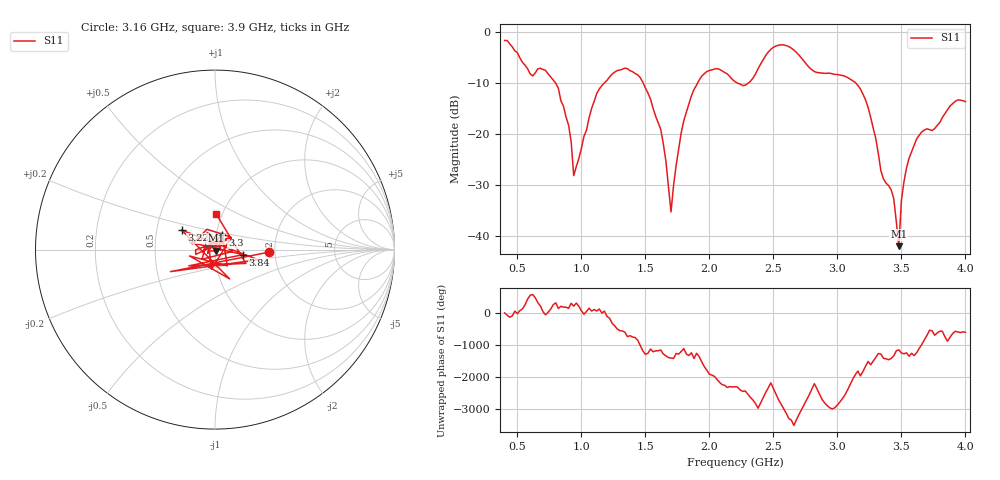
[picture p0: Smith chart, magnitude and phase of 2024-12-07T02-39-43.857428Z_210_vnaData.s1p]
!Created with skrf (http://scikit-rf.org).
# Hz S RI R 50.0
!freq ReS11 ImS11
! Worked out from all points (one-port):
!   181 points, 400 MHz to 4 GHz, reference 50 ohm
!   lowest |S11| = -42.0 dB at 3.48 GHz (marker M1), VSWR 1.02, Z = 50.4 - j0.682 ohm
!   |S11| at or under -10 dB: 799.5 MHz to 1.177 GHz (377.6 MHz wide, 38.2 % of centre); 1.483 GHz to 1.907 GHz (424.2 MHz wide, 25 % of centre); 3.145 GHz to end of sweep (the widest 3 of 4)
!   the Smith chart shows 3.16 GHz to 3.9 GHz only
!   S11 on the Smith chart (normalised r, x): 3.16 GHz: 1.86, -0.06; 3.22 GHz: 0.67, +0.15; 3.3 GHz: 1.07, +0.17; 3.84 GHz: 1.37, -0.08; 3.9 GHz: 0.94, +0.39
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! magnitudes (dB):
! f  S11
! 400 MHz  -1.6
! 620 MHz  -8.6
! 720 MHz  -7.5
! 860 MHz  -14.5
! 920 MHz  -21.5
! 940 MHz  -28.2
! 1.12 GHz  -12.0
! 1.3 GHz  -7.4
! 1.54 GHz  -13.1
! 1.62 GHz  -19.1
! 1.7 GHz  -35.3
! 1.76 GHz  -22.9
! 1.94 GHz  -8.6
! 2.2 GHz  -9.7
! 2.5 GHz  -3.0
! 2.66 GHz  -3.5
! 3.1 GHz  -9.2
! 3.16 GHz  -10.4
! 3.22 GHz  -13.3
! 3.3 GHz  -20.9
! 3.34 GHz  -27.3
! 3.44 GHz  -32.7
! 3.48 GHz  -42.0
! 3.5 GHz  -33.0
! 3.56 GHz  -24.8
! 3.84 GHz  -16.0
! 3.9 GHz  -14.0
! 4 GHz  -13.6
